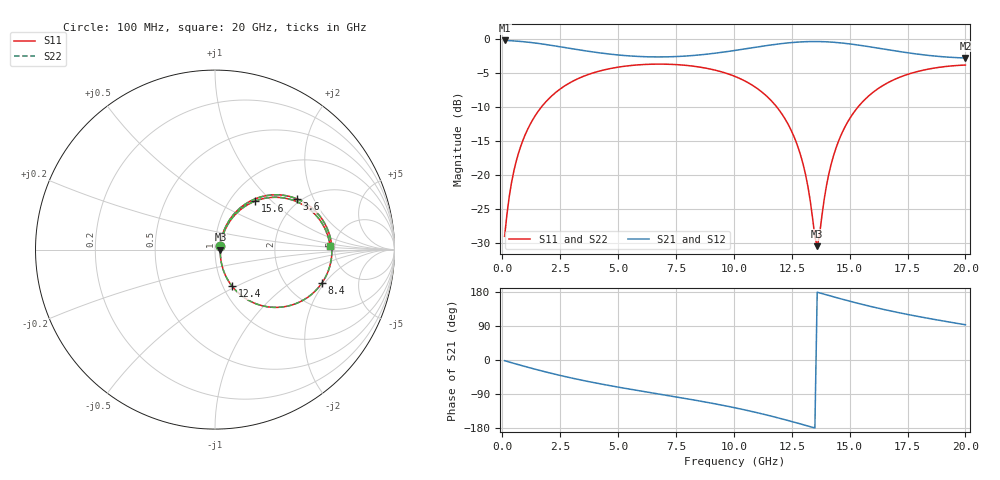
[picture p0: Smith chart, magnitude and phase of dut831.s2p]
! Touchstone file exported from HFSS 2026.1.0
!  File:  C:/ffzhzh/LocalFiles/Ansys_Project_Files/temp_train_TSV_RDL_831_1783266802_39728.aedt
!  Generated:  12:07:03 AM Jul  6, 2026
!  Design:  TSV_RDL
!  Project:  temp_train_TSV_RDL_831_1783266802_39728
! Variables:
!  h_bsmrdl = 2.56um
!  h_ox = 20um
!  h_rdl = 5um
!  h_sub = 61.66um
!  h_tmrdl = 3.11um
!  h_tsv = 61.66um
!  h_via = 3um
!  l_bsmrdl = 678.41um
!  l_sub = 4707.37um
!  l_tmrdl = 537.45um
!  m_sub = 200um
!  pitch = 58.84um
!  r_tsv = 6.36um
!  s_tmrdl = 10um
!  w_bsmrdl = 16.54um
!  w_sub = 500um
!  w_tmrdl = 24.24um
!  x_tsv_center1 = 549.57um
!  x_tsv_center2 = 1244.52um
!  x_tsv_center3 = 1806.21um
!  x_tsv_center4 = 2501.16um
!  x_tsv_center5 = 3062.85um
!  x_tsv_center6 = 3757.8um
# GHz S MA R 50.000000
! Terminal data exported
! Port[1] = TM_RDL1_1_T1
! Port[2] = TM_RDL5_1_T1
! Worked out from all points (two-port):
!   200 points, 100 MHz to 20 GHz, reference 50 ohm
!   highest |S21| = -0.25 dB at 100 MHz (marker M1); lowest = -2.8 dB at 20 GHz (marker M2)
!   |S21| within 3 dB of the highest: start of sweep to end of sweep
!   lowest |S11| = -30.4 dB at 13.6 GHz (marker M3), VSWR 1.06, Z = 53.1 - j0.0489 ohm
!   |S11| at or under -10 dB: start of sweep to 1.695 GHz; 11.85 GHz to 15.37 GHz (3.519 GHz wide, 25.9 % of centre)
!   |S22| runs from -30.5 to -3.7 dB; largest |S21 - S12| = 1.6e-14
!   S11 on the Smith chart (normalised r, x): 100 MHz: 1.06, +0.04; 3.6 GHz: 1.90, +1.51; 8.4 GHz: 3.07, -1.88; 12.4 GHz: 1.10, -0.48; 15.6 GHz: 1.30, +0.80; 20 GHz: 4.55, +0.32
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0.1  0.03548 35.2  0.9714 -1.8  0.9714 -1.8  0.03548 35.2
! Gamma 0 0 0 0
! Port Impedance 50 0 50 0
0.5  0.1071 64.3  0.9638 -8.9  0.9638 -8.9  0.1071 64.3
1.1  0.2174 62.3  0.9441 -19.1  0.9441 -19.1  0.2174 62.3
2.1  0.3757 50.2  0.8953 -34.9  0.8953 -34.9  0.3757 50.2
3.5  0.5296 32.8  0.8196 -54.1  0.8196 -54.1  0.5296 32.8
3.6  0.5377 31.7  0.8147 -55.4  0.8147 -55.4  0.5377 31.7
5.2  0.6257 14.3  0.7548 -73.7  0.7548 -73.7  0.6257 14.3
6.8  0.6514 -1.5  0.7353 -90.2  0.7353 -90.2  0.6514 -1.5
8.4  0.624 -17.5  0.7575 -106.8  0.7575 -106.8  0.6239 -17.4
10.1  0.5247 -36.2  0.8231 -126.8  0.8231 -126.8  0.5246 -36.2
11.4  0.3815 -52.6  0.8901 -144.8  0.8901 -144.8  0.3815 -52.6
12.4  0.226 -64.9  0.9344 -160.7  0.9344 -160.7  0.226 -64.9
13  0.1184 -67.7  0.95 -170.8  0.95 -170.8  0.1183 -67.8
13.4  0.04832 -50.7  0.954 -177.7  0.954 -177.7  0.04818 -50.9
13.6  0.03004 -0.9  0.9539 178.8  0.9539 178.8  0.02984 -0.8
14  0.08347 59.6  0.9494 171.9  0.9494 171.9  0.08341 59.8
14.3  0.1376 63.1  0.9425 166.8  0.9425 166.8  0.1376 63.3
14.9  0.2423 58.9  0.9211 156.9  0.9211 156.9  0.2423 59.0
15.6  0.35 50.5  0.8872 145.9  0.8872 145.9  0.35 50.5
16.7  0.4805 36.7  0.8282 130.3  0.8282 130.3  0.4805 36.8
18.4  0.5986 17.7  0.7547 109.9  0.7547 109.9  0.5986 17.8
20  0.6412 1.8  0.7227 93.0  0.7227 93.0  0.6412 1.9
